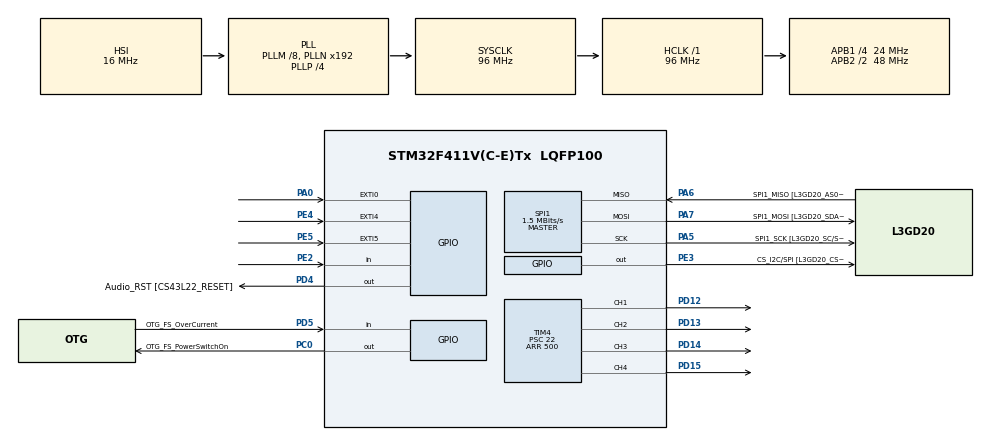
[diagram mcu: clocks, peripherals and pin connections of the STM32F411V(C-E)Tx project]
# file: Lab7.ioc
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Mcu.Family=STM32F4
Mcu.Name=STM32F411V(C-E)Tx
Mcu.Package=LQFP100
NVIC.PriorityGroup=NVIC_PRIORITYGROUP_0
PA0-WKUP.GPIO_ModeDefaultEXTI=GPIO_MODE_EVT_RISING
PA0-WKUP.Signal=GPXTI0
PA10.GPIO_Label=OTG_FS_ID
PA10.Signal=USB_OTG_FS_ID
PA11.GPIO_Label=OTG_FS_DM
PA11.Signal=USB_OTG_FS_DM
PA12.GPIO_Label=OTG_FS_DP
PA12.Signal=USB_OTG_FS_DP
PA13.GPIO_Label=SWDIO
PA13.Signal=SYS_JTMS-SWDIO
PA14.GPIO_Label=SWCLK
PA14.Signal=SYS_JTCK-SWCLK
PA4.GPIO_Label=I2S3_WS [CS43L22_LRCK]
PA4.GPIO_Mode=GPIO_MODE_AF_PP
PA4.GPIO_PuPd=GPIO_NOPULL
PA4.GPIO_Speed=GPIO_SPEED_FREQ_LOW
PA4.Signal=I2S3_WS
PA5.GPIO_Label=SPI1_SCK [L3GD20_SC/SPC]
PA5.Mode=Full_Duplex_Master
PA5.Signal=SPI1_SCK
PA6.GPIO_Label=SPI1_MISO [L3GD20_AS0/SDO]
PA6.Mode=Full_Duplex_Master
PA6.Signal=SPI1_MISO
PA7.GPIO_Label=SPI1_MOSI [L3GD20_SDA/SDI/SDO]
PA7.Mode=Full_Duplex_Master
PA7.Signal=SPI1_MOSI
PA9.GPIO_Label=VBUS_FS
PA9.Signal=USB_OTG_FS_VBUS
PB10.GPIO_Label=CLK_IN [MP45DT02_CLK]
PB10.Signal=I2S2_CK
PB12.Signal=I2S2_WS
PB3.GPIO_Label=SWO
PB3.Signal=SYS_JTDO-SWO
PB6.GPIO_Label=Audio_SCL [CS43L22_SCL]
PB6.GPIO_Mode=GPIO_MODE_AF_OD
PB6.GPIO_PuPd=GPIO_NOPULL
PB6.GPIO_Speed=GPIO_SPEED_FREQ_LOW
PB6.Signal=I2C1_SCL
PB9.GPIO_Label=Audio_SDA [CS43L22_SDA]
PB9.GPIO_Mode=GPIO_MODE_AF_OD
PB9.GPIO_PuPd=GPIO_NOPULL
PB9.GPIO_Speed=GPIO_SPEED_FREQ_LOW
PB9.Signal=I2C1_SDA
PC0.GPIO_Label=OTG_FS_PowerSwitchOn
PC0.PinState=GPIO_PIN_SET
PC0.Signal=GPIO_Output
PC10.GPIO_Label=I2S3_SCK [CS43L22_SCLK]
PC10.GPIO_Mode=GPIO_MODE_AF_PP
PC10.GPIO_PuPd=GPIO_NOPULL
PC10.GPIO_Speed=GPIO_SPEED_FREQ_LOW
PC10.Signal=I2S3_CK
PC12.GPIO_Label=I2S3_SD [CS43L22_SDIN]
PC12.GPIO_Mode=GPIO_MODE_AF_PP
PC12.GPIO_PuPd=GPIO_NOPULL
PC12.GPIO_Speed=GPIO_SPEED_FREQ_LOW
PC12.Signal=I2S3_SD
PC14-OSC32_IN.GPIO_Label=PC14-OSC32_IN
PC14-OSC32_IN.Signal=RCC_OSC32_IN
PC15-OSC32_OUT.GPIO_Label=PC15-OSC32_OUT
PC15-OSC32_OUT.Signal=RCC_OSC32_OUT
PC3.GPIO_Label=PDM_OUT [MP45DT02_DOUT]
PC3.Signal=I2S2_SD
PC7.GPIO_Label=I2S3_MCK [CS43L22_MCLK]
PC7.GPIO_Mode=GPIO_MODE_AF_PP
PC7.GPIO_PuPd=GPIO_NOPULL
PC7.GPIO_Speed=GPIO_SPEED_FREQ_LOW
PC7.Signal=I2S3_MCK
PD12.Signal=S_TIM4_CH1
PD13.Signal=S_TIM4_CH2
PD14.Signal=S_TIM4_CH3
PD15.Signal=S_TIM4_CH4
PD4.GPIO_Label=Audio_RST [CS43L22_RESET]
PD4.Signal=GPIO_Output
PD5.GPIO_Label=OTG_FS_OverCurrent
PD5.Signal=GPIO_Input
PE2.Signal=GPIO_Input
PE3.GPIO_Label=CS_I2C/SPI [L3GD20_CS_I2C/SPI]
PE3.Signal=GPIO_Output
PE4.GPIO_ModeDefaultEXTI=GPIO_MODE_EVT_RISING
PE4.Signal=GPXTI4
PE5.GPIO_ModeDefaultEXTI=GPIO_MODE_EVT_RISING
PE5.Signal=GPXTI5
PH0\ -\ OSC_IN.GPIO_Label=PH0-OSC_IN
PH0\ -\ OSC_IN.Signal=RCC_OSC_IN
PH1\ -\ OSC_OUT.GPIO_Label=PH1-OSC_OUT
PH1\ -\ OSC_OUT.Signal=RCC_OSC_OUT
ProjectManager.HeapSize=0x200
ProjectManager.StackSize=0x400
ProjectManager.TargetToolchain=STM32CubeIDE
RCC.48MHZClocksFreq_Value=48000000
RCC.AHBFreq_Value=96000000
RCC.APB1CLKDivider=RCC_HCLK_DIV4
RCC.APB1Freq_Value=24000000
RCC.APB1TimFreq_Value=48000000
RCC.APB2CLKDivider=RCC_HCLK_DIV2
RCC.APB2Freq_Value=48000000
RCC.APB2TimFreq_Value=96000000
RCC.CortexFreq_Value=96000000
RCC.HCLKFreq_Value=96000000
RCC.HSE_VALUE=8000000
RCC.HSI_VALUE=16000000
RCC.LSE_VALUE=32768
RCC.PLLI2SM=5
RCC.PLLI2SN=200
RCC.PLLM=8
RCC.PLLP=RCC_PLLP_DIV4
RCC.PLLQ=8
RCC.SYSCLKFreq_VALUE=96000000
RCC.SYSCLKSource=RCC_SYSCLKSOURCE_PLLCLK
RCC.VCOOutputFreq_Value=384000000
SH.S_TIM4_CH1.0=TIM4_CH1,PWM Generation1 CH1
SH.S_TIM4_CH2.0=TIM4_CH2,PWM Generation2 CH2
SH.S_TIM4_CH3.0=TIM4_CH3,PWM Generation3 CH3
SH.S_TIM4_CH4.0=TIM4_CH4,PWM Generation4 CH4
SPI1.BaudRatePrescaler=SPI_BAUDRATEPRESCALER_32
SPI1.CalculateBaudRate=1.5 MBits/s
SPI1.Direction=SPI_DIRECTION_2LINES
SPI1.Mode=SPI_MODE_MASTER
SPI1.VirtualType=VM_MASTER
TIM4.AutoReloadPreload=TIM_AUTORELOAD_PRELOAD_ENABLE
TIM4.Channel-PWM\ Generation1\ CH1=TIM_CHANNEL_1
TIM4.Channel-PWM\ Generation2\ CH2=TIM_CHANNEL_2
TIM4.Channel-PWM\ Generation3\ CH3=TIM_CHANNEL_3
TIM4.Channel-PWM\ Generation4\ CH4=TIM_CHANNEL_4
TIM4.CounterMode=TIM_COUNTERMODE_DOWN
TIM4.Period=500
TIM4.Prescaler=22
VP_TIM4_VS_ClockSourceINT.Mode=Internal
board=STM32F411E-DISCO

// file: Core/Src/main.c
/* USER CODE BEGIN Header */
/**
  ******************************************************************************
  * @file           : main.c
  * @brief          : Main program body
  ******************************************************************************
  * @attention
  *
  * Copyright (c) 2023 STMicroelectronics.
  * All rights reserved.
  *
  * This software is licensed under terms that can be found in the LICENSE file
  * in the root directory of this software component.
  * If no LICENSE file comes with this software, it is provided AS-IS.
  *
  ******************************************************************************
  */
/* USER CODE END Header */
#include "main.h"

/* USER CODE BEGIN Includes */
#include "MY_L3GD20.h"
/* USER CODE END Includes */

/* USER CODE BEGIN PD */
#define ANGLE_STEP (htim4.Init.Period / 180)
/* USER CODE END PD */

SPI_HandleTypeDef hspi1;

TIM_HandleTypeDef htim4;

/* USER CODE BEGIN PV */
L3GD20_DataScaled recvData;
static L3GD20_DataScaled currentOrientation;
/* USER CODE END PV */

void SystemClock_Config(void);
static void MX_GPIO_Init(void);
static void MX_SPI1_Init(void);
static void MX_TIM4_Init(void);

int main(void)
{

  /* MCU Configuration--------------------------------------------------------*/

  /* Reset of all peripherals, Initializes the Flash interface and the Systick. */
  HAL_Init();

  /* Configure the system clock */
  SystemClock_Config();

  /* Initialize all configured peripherals */
  MX_GPIO_Init();
  MX_SPI1_Init();
  MX_TIM4_Init();
  /* USER CODE BEGIN 2 */
  L3GD20_InitTypeDef myAccConfigDef;

  HAL_TIM_PWM_Start(&htim4, TIM_CHANNEL_1);
  HAL_TIM_PWM_Start(&htim4, TIM_CHANNEL_2);
  HAL_TIM_PWM_Start(&htim4, TIM_CHANNEL_3);
  HAL_TIM_PWM_Start(&htim4, TIM_CHANNEL_4);

  TIM4->CCR1 = 10; /* Green  */
  TIM4->CCR2 = 10; /* Orange */
  TIM4->CCR3 = 10; /* Red    */
  TIM4->CCR4 = 10; /* Blue   */

  myAccConfigDef.dataRate = L3GD20_DATARATE_380HZ;
  myAccConfigDef.enableAxes = L3GD20_XYZ_ENABLE;
  myAccConfigDef.fullScale = L3GD20_FULLSCALE_250DPS;
  myAccConfigDef.interruptEnable = false;
  L3GD20_Init(&hspi1, &myAccConfigDef);
  /* USER CODE END 2 */

  /* Infinite loop */
  /* USER CODE BEGIN WHILE */
  while (1)
  {
	  if(L3GD20_PollDRDY(100))
	  {
		  recvData = L3GD20_GetDataScaled();
	  }
	  HAL_Delay(100);
	  currentOrientation.x += recvData.x;
	  currentOrientation.y += recvData.y;
	  currentOrientation.z += recvData.z;
	  /* x axis rotation */
	  if (currentOrientation.y > 0 + 5)
	  {
		  TIM4->CCR4 = (currentOrientation.y) * ANGLE_STEP;
	  	  TIM4->CCR2 = 10;
	  }
	  else if (currentOrientation.y < 0 - 5)
	  {
		  TIM4->CCR4 = 10;
		  TIM4->CCR2 = (-currentOrientation.y) * ANGLE_STEP;
	  }
	  /* y axis rotation */
	  if (currentOrientation.x > 0 + 5)
	  {
		  TIM4->CCR1 = (currentOrientation.x) * ANGLE_STEP;
	  	  TIM4->CCR3 = 10;
	  }
	  else if (currentOrientation.x < 0 - 5)
	  {
		  TIM4->CCR1 = 10;
		  TIM4->CCR3 = (-currentOrientation.x) * ANGLE_STEP;
	  }
    /* USER CODE END WHILE */

  }
}

void SystemClock_Config(void)
{
  RCC_OscInitTypeDef RCC_OscInitStruct = {0};
  RCC_ClkInitTypeDef RCC_ClkInitStruct = {0};

  /** Configure the main internal regulator output voltage
  */
  __HAL_RCC_PWR_CLK_ENABLE();
  __HAL_PWR_VOLTAGESCALING_CONFIG(PWR_REGULATOR_VOLTAGE_SCALE1);

  /** Initializes the RCC Oscillators according to the specified parameters
  * in the RCC_OscInitTypeDef structure.
  */
  RCC_OscInitStruct.OscillatorType = RCC_OSCILLATORTYPE_HSI;
  RCC_OscInitStruct.HSIState = RCC_HSI_ON;
  RCC_OscInitStruct.HSICalibrationValue = RCC_HSICALIBRATION_DEFAULT;
  RCC_OscInitStruct.PLL.PLLState = RCC_PLL_ON;
  RCC_OscInitStruct.PLL.PLLSource = RCC_PLLSOURCE_HSI;
  RCC_OscInitStruct.PLL.PLLM = 8;
  RCC_OscInitStruct.PLL.PLLN = 192;
  RCC_OscInitStruct.PLL.PLLP = RCC_PLLP_DIV4;
  RCC_OscInitStruct.PLL.PLLQ = 8;
  if (HAL_RCC_OscConfig(&RCC_OscInitStruct) != HAL_OK)
  {
    Error_Handler();
  }

  /** Initializes the CPU, AHB and APB buses clocks
  */
  RCC_ClkInitStruct.ClockType = RCC_CLOCKTYPE_HCLK|RCC_CLOCKTYPE_SYSCLK
                              |RCC_CLOCKTYPE_PCLK1|RCC_CLOCKTYPE_PCLK2;
  RCC_ClkInitStruct.SYSCLKSource = RCC_SYSCLKSOURCE_PLLCLK;
  RCC_ClkInitStruct.AHBCLKDivider = RCC_SYSCLK_DIV1;
  RCC_ClkInitStruct.APB1CLKDivider = RCC_HCLK_DIV4;
  RCC_ClkInitStruct.APB2CLKDivider = RCC_HCLK_DIV2;

  if (HAL_RCC_ClockConfig(&RCC_ClkInitStruct, FLASH_LATENCY_3) != HAL_OK)
  {
    Error_Handler();
  }
}

static void MX_SPI1_Init(void)
{

  /* SPI1 parameter configuration*/
  hspi1.Instance = SPI1;
  hspi1.Init.Mode = SPI_MODE_MASTER;
  hspi1.Init.Direction = SPI_DIRECTION_2LINES;
  hspi1.Init.DataSize = SPI_DATASIZE_8BIT;
  hspi1.Init.CLKPolarity = SPI_POLARITY_LOW;
  hspi1.Init.CLKPhase = SPI_PHASE_1EDGE;
  hspi1.Init.NSS = SPI_NSS_SOFT;
  hspi1.Init.BaudRatePrescaler = SPI_BAUDRATEPRESCALER_32;
  hspi1.Init.FirstBit = SPI_FIRSTBIT_MSB;
  hspi1.Init.TIMode = SPI_TIMODE_DISABLE;
  hspi1.Init.CRCCalculation = SPI_CRCCALCULATION_DISABLE;
  hspi1.Init.CRCPolynomial = 10;
  if (HAL_SPI_Init(&hspi1) != HAL_OK)
  {
    Error_Handler();
  }

}

static void MX_TIM4_Init(void)
{

  TIM_ClockConfigTypeDef sClockSourceConfig = {0};
  TIM_MasterConfigTypeDef sMasterConfig = {0};
  TIM_OC_InitTypeDef sConfigOC = {0};

  htim4.Instance = TIM4;
  htim4.Init.Prescaler = 22;
  htim4.Init.CounterMode = TIM_COUNTERMODE_DOWN;
  htim4.Init.Period = 500;
  htim4.Init.ClockDivision = TIM_CLOCKDIVISION_DIV1;
  htim4.Init.AutoReloadPreload = TIM_AUTORELOAD_PRELOAD_ENABLE;
  if (HAL_TIM_Base_Init(&htim4) != HAL_OK)
  {
    Error_Handler();
  }
  sClockSourceConfig.ClockSource = TIM_CLOCKSOURCE_INTERNAL;
  if (HAL_TIM_ConfigClockSource(&htim4, &sClockSourceConfig) != HAL_OK)
  {
    Error_Handler();
  }
  if (HAL_TIM_PWM_Init(&htim4) != HAL_OK)
  {
    Error_Handler();
  }
  sMasterConfig.MasterOutputTrigger = TIM_TRGO_RESET;
  sMasterConfig.MasterSlaveMode = TIM_MASTERSLAVEMODE_DISABLE;
  if (HAL_TIMEx_MasterConfigSynchronization(&htim4, &sMasterConfig) != HAL_OK)
  {
    Error_Handler();
  }
  sConfigOC.OCMode = TIM_OCMODE_PWM1;
  sConfigOC.Pulse = 0;
  sConfigOC.OCPolarity = TIM_OCPOLARITY_HIGH;
  sConfigOC.OCFastMode = TIM_OCFAST_DISABLE;
  if (HAL_TIM_PWM_ConfigChannel(&htim4, &sConfigOC, TIM_CHANNEL_1) != HAL_OK)
  {
    Error_Handler();
  }
  if (HAL_TIM_PWM_ConfigChannel(&htim4, &sConfigOC, TIM_CHANNEL_2) != HAL_OK)
  {
    Error_Handler();
  }
  if (HAL_TIM_PWM_ConfigChannel(&htim4, &sConfigOC, TIM_CHANNEL_3) != HAL_OK)
  {
    Error_Handler();
  }
  if (HAL_TIM_PWM_ConfigChannel(&htim4, &sConfigOC, TIM_CHANNEL_4) != HAL_OK)
  {
    Error_Handler();
  }
  HAL_TIM_MspPostInit(&htim4);

}

static void MX_GPIO_Init(void)
{
  GPIO_InitTypeDef GPIO_InitStruct = {0};

  /* GPIO Ports Clock Enable */
  __HAL_RCC_GPIOE_CLK_ENABLE();
  __HAL_RCC_GPIOC_CLK_ENABLE();
  __HAL_RCC_GPIOH_CLK_ENABLE();
  __HAL_RCC_GPIOA_CLK_ENABLE();
  __HAL_RCC_GPIOB_CLK_ENABLE();
  __HAL_RCC_GPIOD_CLK_ENABLE();

  /*Configure GPIO pin Output Level */
  HAL_GPIO_WritePin(CS_I2C_SPI_GPIO_Port, CS_I2C_SPI_Pin, GPIO_PIN_RESET);

  /*Configure GPIO pin Output Level */
  HAL_GPIO_WritePin(OTG_FS_PowerSwitchOn_GPIO_Port, OTG_FS_PowerSwitchOn_Pin, GPIO_PIN_SET);

  /*Configure GPIO pin Output Level */
  HAL_GPIO_WritePin(Audio_RST_GPIO_Port, Audio_RST_Pin, GPIO_PIN_RESET);

  /*Configure GPIO pin : PE2 */
  GPIO_InitStruct.Pin = GPIO_PIN_2;
  GPIO_InitStruct.Mode = GPIO_MODE_INPUT;
  GPIO_InitStruct.Pull = GPIO_NOPULL;
  HAL_GPIO_Init(GPIOE, &GPIO_InitStruct);

  /*Configure GPIO pin : CS_I2C_SPI_Pin */
  GPIO_InitStruct.Pin = CS_I2C_SPI_Pin;
  GPIO_InitStruct.Mode = GPIO_MODE_OUTPUT_PP;
  GPIO_InitStruct.Pull = GPIO_NOPULL;
  GPIO_InitStruct.Speed = GPIO_SPEED_FREQ_LOW;
  HAL_GPIO_Init(CS_I2C_SPI_GPIO_Port, &GPIO_InitStruct);

  /*Configure GPIO pins : PE4 PE5 */
  GPIO_InitStruct.Pin = GPIO_PIN_4|GPIO_PIN_5;
  GPIO_InitStruct.Mode = GPIO_MODE_EVT_RISING;
  GPIO_InitStruct.Pull = GPIO_NOPULL;
  HAL_GPIO_Init(GPIOE, &GPIO_InitStruct);

  /*Configure GPIO pin : OTG_FS_PowerSwitchOn_Pin */
  GPIO_InitStruct.Pin = OTG_FS_PowerSwitchOn_Pin;
  GPIO_InitStruct.Mode = GPIO_MODE_OUTPUT_PP;
  GPIO_InitStruct.Pull = GPIO_NOPULL;
  GPIO_InitStruct.Speed = GPIO_SPEED_FREQ_LOW;
  HAL_GPIO_Init(OTG_FS_PowerSwitchOn_GPIO_Port, &GPIO_InitStruct);

  /*Configure GPIO pin : PDM_OUT_Pin */
  GPIO_InitStruct.Pin = PDM_OUT_Pin;
  GPIO_InitStruct.Mode = GPIO_MODE_AF_PP;
  GPIO_InitStruct.Pull = GPIO_NOPULL;
  GPIO_InitStruct.Speed = GPIO_SPEED_FREQ_LOW;
  GPIO_InitStruct.Alternate = GPIO_AF5_SPI2;
  HAL_GPIO_Init(PDM_OUT_GPIO_Port, &GPIO_InitStruct);

  /*Configure GPIO pin : PA0 */
  GPIO_InitStruct.Pin = GPIO_PIN_0;
  GPIO_InitStruct.Mode = GPIO_MODE_EVT_RISING;
  GPIO_InitStruct.Pull = GPIO_NOPULL;
  HAL_GPIO_Init(GPIOA, &GPIO_InitStruct);

  /*Configure GPIO pin : I2S3_WS_Pin */
  GPIO_InitStruct.Pin = I2S3_WS_Pin;
  GPIO_InitStruct.Mode = GPIO_MODE_AF_PP;
  GPIO_InitStruct.Pull = GPIO_NOPULL;
  GPIO_InitStruct.Speed = GPIO_SPEED_FREQ_LOW;
  GPIO_InitStruct.Alternate = GPIO_AF6_SPI3;
  HAL_GPIO_Init(I2S3_WS_GPIO_Port, &GPIO_InitStruct);

  /*Configure GPIO pins : CLK_IN_Pin PB12 */
  GPIO_InitStruct.Pin = CLK_IN_Pin|GPIO_PIN_12;
  GPIO_InitStruct.Mode = GPIO_MODE_AF_PP;
  GPIO_InitStruct.Pull = GPIO_NOPULL;
  GPIO_InitStruct.Speed = GPIO_SPEED_FREQ_LOW;
  GPIO_InitStruct.Alternate = GPIO_AF5_SPI2;
  HAL_GPIO_Init(GPIOB, &GPIO_InitStruct);

  /*Configure GPIO pins : I2S3_MCK_Pin I2S3_SCK_Pin I2S3_SD_Pin */
  GPIO_InitStruct.Pin = I2S3_MCK_Pin|I2S3_SCK_Pin|I2S3_SD_Pin;
  GPIO_InitStruct.Mode = GPIO_MODE_AF_PP;
  GPIO_InitStruct.Pull = GPIO_NOPULL;
  GPIO_InitStruct.Speed = GPIO_SPEED_FREQ_LOW;
  GPIO_InitStruct.Alternate = GPIO_AF6_SPI3;
  HAL_GPIO_Init(GPIOC, &GPIO_InitStruct);

  /*Configure GPIO pin : VBUS_FS_Pin */
  GPIO_InitStruct.Pin = VBUS_FS_Pin;
  GPIO_InitStruct.Mode = GPIO_MODE_INPUT;
  GPIO_InitStruct.Pull = GPIO_NOPULL;
  HAL_GPIO_Init(VBUS_FS_GPIO_Port, &GPIO_InitStruct);

  /*Configure GPIO pins : OTG_FS_ID_Pin OTG_FS_DM_Pin OTG_FS_DP_Pin */
  GPIO_InitStruct.Pin = OTG_FS_ID_Pin|OTG_FS_DM_Pin|OTG_FS_DP_Pin;
  GPIO_InitStruct.Mode = GPIO_MODE_AF_PP;
  GPIO_InitStruct.Pull = GPIO_NOPULL;
  GPIO_InitStruct.Speed = GPIO_SPEED_FREQ_VERY_HIGH;
  GPIO_InitStruct.Alternate = GPIO_AF10_OTG_FS;
  HAL_GPIO_Init(GPIOA, &GPIO_InitStruct);

  /*Configure GPIO pin : Audio_RST_Pin */
  GPIO_InitStruct.Pin = Audio_RST_Pin;
  GPIO_InitStruct.Mode = GPIO_MODE_OUTPUT_PP;
  GPIO_InitStruct.Pull = GPIO_NOPULL;
  GPIO_InitStruct.Speed = GPIO_SPEED_FREQ_LOW;
  HAL_GPIO_Init(Audio_RST_GPIO_Port, &GPIO_InitStruct);

  /*Configure GPIO pin : OTG_FS_OverCurrent_Pin */
  GPIO_InitStruct.Pin = OTG_FS_OverCurrent_Pin;
  GPIO_InitStruct.Mode = GPIO_MODE_INPUT;
  GPIO_InitStruct.Pull = GPIO_NOPULL;
  HAL_GPIO_Init(OTG_FS_OverCurrent_GPIO_Port, &GPIO_InitStruct);

  /*Configure GPIO pins : Audio_SCL_Pin Audio_SDA_Pin */
  GPIO_InitStruct.Pin = Audio_SCL_Pin|Audio_SDA_Pin;
  GPIO_InitStruct.Mode = GPIO_MODE_AF_OD;
  GPIO_InitStruct.Pull = GPIO_NOPULL;
  GPIO_InitStruct.Speed = GPIO_SPEED_FREQ_LOW;
  GPIO_InitStruct.Alternate = GPIO_AF4_I2C1;
  HAL_GPIO_Init(GPIOB, &GPIO_InitStruct);

}

void Error_Handler(void)
{
  __disable_irq();
  while (1)
  {
  }
}
